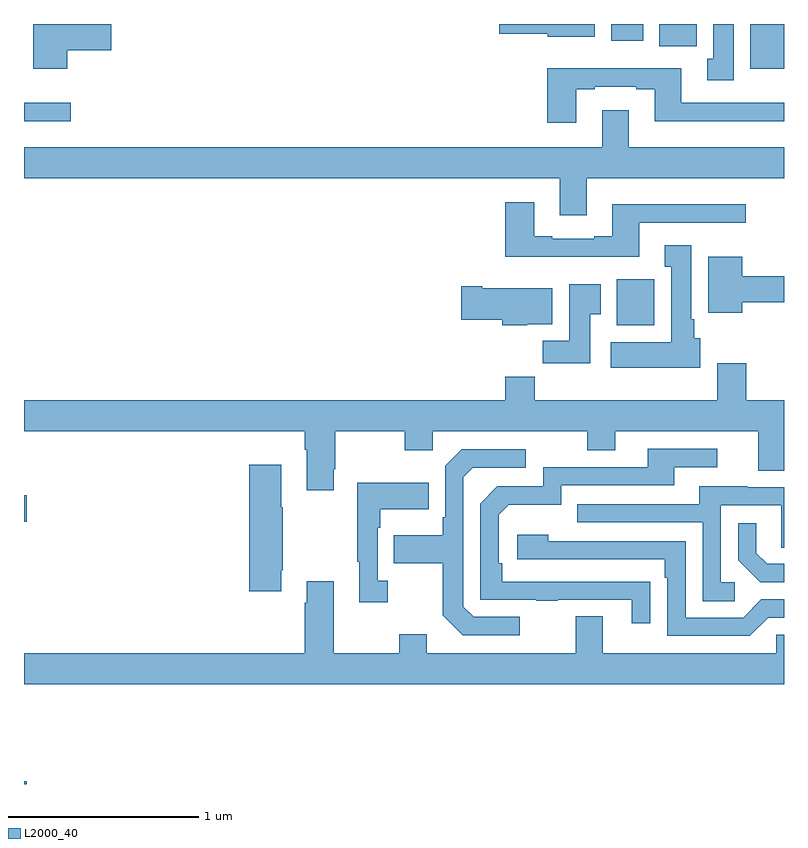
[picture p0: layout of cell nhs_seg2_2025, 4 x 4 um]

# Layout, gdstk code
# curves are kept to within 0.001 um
import gdstk
lib = gdstk.Library(unit=1e-6, precision=1e-09)
def R(c, l, rs):  # rectangles x0, y0, x1, y1
    for r in rs: c.add(gdstk.rectangle(r[:2], r[2:], *l))
def P(c, l, *ps):  # polygons
    for p in ps: c.add(gdstk.Polygon(p, *l))
L2000_40 = (2000, 40)

nhs_seg2_2025 = lib.new_cell('nhs_seg2_2025')
R(nhs_seg2_2025, L2000_40, [(217,625.8,217.015,625.814), (217,627.179,217.015,627.321), (220.121,628.214,220.318,628.456), (217,629.288,217.246,629.385), (220.823,629.564,221,629.8), (220.343,629.684,220.54,629.8), (220.091,629.712,220.258,629.8)])
P(nhs_seg2_2025, L2000_40, [(220.735,629.8),(220.628,629.8),(220.628,629.618),(220.595,629.618),(220.595,629.505),(220.735,629.505)],
  [(220.003,629.8),(219.5,629.8),(219.5,629.75),(219.756,629.75),(219.756,629.732),(220.003,629.732)],
  [(217.228,629.663),(217.459,629.663),(217.459,629.8),(217.049,629.8),(217.049,629.564),(217.228,629.564)],
  [(219.907,629.457),(220.003,629.457),(220.003,629.469),(220.223,629.469),(220.223,629.457),(220.319,629.457),(220.319,629.288),(221,629.288),(221,629.385),(220.459,629.385),(220.459,629.566),(219.755,629.566),(219.755,629.28),(219.907,629.28)],
  [(219.961,628.988),(221,628.988),(221,629.152),(220.183,629.152),(220.183,629.347),(220.043,629.347),(220.043,629.152),(217,629.152),(217,628.988),(219.821,628.988),(219.821,628.794),(219.961,628.794)],
  [(220.237,628.755),(220.798,628.755),(220.798,628.852),(220.097,628.852),(220.097,628.684),(220.001,628.684),(220.001,628.671),(219.781,628.671),(219.781,628.684),(219.685,628.684),(219.685,628.861),(219.533,628.861),(219.533,628.574),(220.237,628.574)],
  [(220.558,628.146),(220.528,628.146),(220.528,628.246),(220.513,628.246),(220.513,628.636),(220.373,628.636),(220.373,628.523),(220.406,628.523),(220.406,628.126),(220.089,628.126),(220.089,627.992),(220.558,627.992)],
  [(220.78,628.336),(221,628.336),(221,628.472),(220.78,628.472),(220.78,628.576),(220.601,628.576),(220.601,628.28),(220.78,628.28)],
  [(219.979,628.273),(220.036,628.273),(220.036,628.429),(219.869,628.429),(219.869,628.132),(219.73,628.132),(219.73,628.014),(219.979,628.014)],
  [(219.648,628.22),(219.781,628.22),(219.781,628.408),(219.412,628.408),(219.412,628.421),(219.3,628.421),(219.3,628.243),(219.518,628.243),(219.518,628.214),(219.648,628.214)],
  [(218.629,627.457),(218.637,627.457),(218.637,627.656),(219.004,627.656),(219.004,627.557),(219.15,627.557),(219.15,627.656),(219.964,627.656),(219.964,627.557),(220.111,627.557),(220.111,627.656),(220.865,627.656),(220.865,627.448),(221,627.448),(221,627.82),(220.802,627.82),(220.802,628.015),(220.649,628.015),(220.649,627.82),(219.689,627.82),(219.689,627.944),(219.533,627.944),(219.533,627.82),(217,627.82),(217,627.656),(218.477,627.656),(218.477,627.56),(218.489,627.56),(218.489,627.345),(218.629,627.345)],
  [(220.295,626.864),(219.518,626.865),(219.518,626.962),(219.498,626.962),(219.498,627.216),(219.551,627.269),(219.828,627.269),(219.828,627.372),(220.423,627.372),(220.423,627.468),(220.648,627.468),(220.648,627.564),(220.283,627.564),(220.283,627.468),(219.732,627.468),(219.732,627.366),(219.492,627.366),(219.402,627.276),(219.402,626.769),(219.697,626.769),(219.697,626.764),(219.809,626.764),(219.809,626.769),(220.199,626.769),(220.199,626.646),(220.295,626.646)],
  [(219.61,626.679),(219.366,626.679),(219.312,626.733),(219.312,627.414),(219.363,627.465),(219.64,627.465),(219.64,627.561),(219.303,627.561),(219.216,627.474),(219.216,627.205),(219.204,627.205),(219.204,627.109),(218.947,627.109),(218.947,626.962),(219.204,626.962),(219.204,626.689),(219.309,626.583),(219.61,626.583)],
  [(218.353,626.926),(218.361,626.926),(218.361,627.257),(218.353,627.257),(218.353,627.481),(218.186,627.481),(218.186,626.814),(218.353,626.814)],
  [(218.914,626.87),(218.862,626.87),(218.862,627.149),(218.875,627.149),(218.875,627.245),(219.131,627.245),(219.131,627.385),(218.754,627.385),(218.754,626.969),(218.765,626.969),(218.765,626.757),(218.914,626.757)],
  [(220.741,626.862),(220.668,626.862),(220.668,627.267),(220.986,627.267),(220.986,627.043),(221,627.043),(221,627.363),(220.807,627.363),(220.807,627.367),(220.553,627.367),(220.553,627.273),(219.913,627.273),(219.913,627.177),(220.572,627.177),(220.572,626.761),(220.741,626.761)],
  [(221,626.958),(220.912,626.958),(220.855,627.015),(220.855,627.172),(220.758,627.172),(220.758,626.978),(220.874,626.862),(221,626.862)],
  [(220.917,626.676),(221,626.676),(221,626.772),(220.881,626.772),(220.785,626.676),(220.482,626.676),(220.482,627.078),(219.758,627.078),(219.758,627.112),(219.597,627.112),(219.597,626.982),(220.373,626.982),(220.373,626.885),(220.386,626.885),(220.386,626.58),(220.821,626.58)],
  [(221,626.586),(220.959,626.586),(220.959,626.488),(220.045,626.488),(220.045,626.683),(219.905,626.683),(219.905,626.488),(219.121,626.488),(219.121,626.587),(218.974,626.587),(218.974,626.488),(218.629,626.488),(218.629,626.866),(218.489,626.866),(218.489,626.753),(218.477,626.753),(218.477,626.488),(217,626.488),(217,626.324),(221,626.324)])

lib.write_gds('nhs_seg2_2025.gds')
